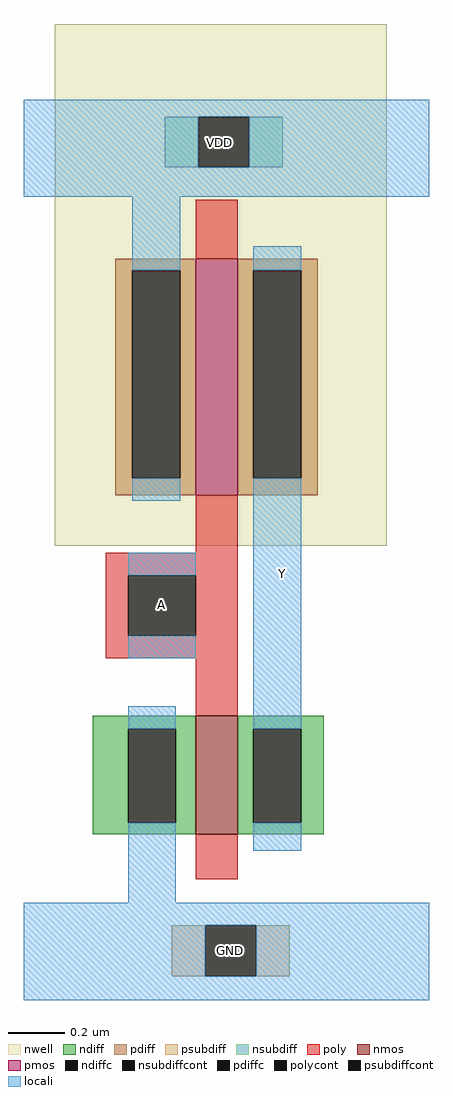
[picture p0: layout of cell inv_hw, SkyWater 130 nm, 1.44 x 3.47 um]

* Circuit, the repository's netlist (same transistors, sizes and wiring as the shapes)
* NGSPICE file created from inv_hw.ext - technology: sky130A

.subckt inv_hw Y A GND VDD
X0 Y A GND GND sky130_fd_pr__nfet_01v8 ad=0.128 pd=1.45 as=0.153 ps=1.57 w=0.42 l=0.15
X1 Y A VDD VDD sky130_fd_pr__pfet_01v8 ad=0.239 pd=2.25 as=0.239 ps=2.25 w=0.84 l=0.15
.ends

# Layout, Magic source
magic
tech sky130A
magscale 1 2
<< nwell >>
rect -100 164 136 535
<< nmos >>
rect 0 -41 30 43
<< pmos >>
rect 0 200 30 368
<< ndiff >>
rect -73 34 0 43
rect -73 -33 -48 34
rect -14 -33 0 34
rect -73 -41 0 -33
rect 30 34 91 43
rect 30 -33 41 34
rect 75 -33 91 34
rect 30 -41 91 -33
<< pdiff >>
rect -57 360 0 368
rect -57 212 -45 360
rect -11 212 0 360
rect -57 200 0 212
rect 30 360 87 368
rect 30 212 41 360
rect 75 212 87 360
rect 30 200 87 212
<< ndiffc >>
rect -48 -33 -14 34
rect 41 -33 75 34
<< pdiffc >>
rect -45 212 -11 360
rect 41 212 75 360
<< psubdiff >>
rect -17 -142 7 -106
rect 43 -142 67 -106
<< nsubdiff >>
rect -22 433 2 469
rect 38 433 62 469
<< psubdiffcont >>
rect 7 -142 43 -106
<< nsubdiffcont >>
rect 2 433 38 469
<< poly >>
rect 0 368 30 410
rect 0 159 30 200
rect -64 143 30 159
rect -64 100 -48 143
rect 0 100 30 143
rect -64 84 30 100
rect 0 43 30 84
rect 0 -73 30 -41
<< polycont >>
rect -48 100 0 143
<< locali >>
rect -122 469 166 481
rect -122 433 2 469
rect 38 433 166 469
rect -122 412 166 433
rect -45 360 -11 412
rect -45 196 -11 212
rect 41 360 75 377
rect -48 143 0 159
rect -48 84 0 100
rect -48 34 -14 50
rect -48 -90 -14 -33
rect 41 34 75 212
rect 41 -53 75 -33
rect -122 -106 166 -90
rect -122 -142 7 -106
rect 43 -142 166 -106
rect -122 -159 166 -142
<< labels >>
rlabel locali 25 -124 25 -124 1 GND
port 3 n
rlabel locali 62 144 62 144 1 Y
port 1 n
rlabel polycont -24 122 -24 122 1 A
port 2 n
rlabel nsubdiffcont 17 451 17 451 1 VDD
port 4 n
<< end >>
